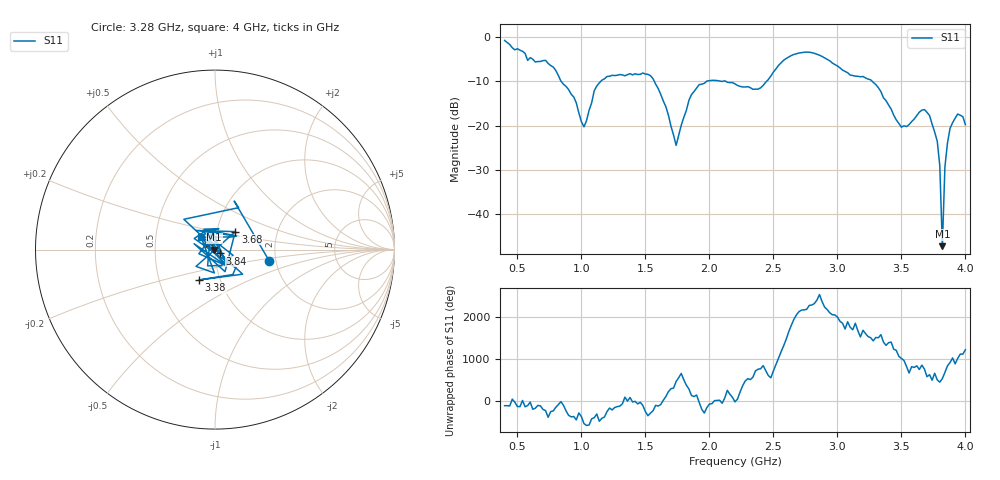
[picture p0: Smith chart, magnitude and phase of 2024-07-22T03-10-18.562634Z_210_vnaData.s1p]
!Created with skrf (http://scikit-rf.org).
# Hz S RI R 50.0
!freq ReS11 ImS11
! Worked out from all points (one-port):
!   181 points, 400 MHz to 4 GHz, reference 50 ohm
!   lowest |S11| = -47.3 dB at 3.82 GHz (marker M1), VSWR 1.01, Z = 49.6 + j0.0117 ohm
!   |S11| at or under -10 dB: 1.57 GHz to 1.978 GHz (408.1 MHz wide, 23 % of centre); 2.127 GHz to 2.447 GHz (319.4 MHz wide, 14 % of centre); 3.272 GHz to end of sweep (the widest 3 of 5)
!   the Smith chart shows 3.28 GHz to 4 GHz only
!   S11 on the Smith chart (normalised r, x): 3.28 GHz: 1.84, -0.25; 3.38 GHz: 0.79, -0.28; 3.68 GHz: 1.23, +0.25; 3.84 GHz: 1.05, -0.05; 4 GHz: 0.85, +0.12
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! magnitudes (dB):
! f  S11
! 400 MHz  -0.8
! 720 MHz  -5.3
! 860 MHz  -10.7
! 1.02 GHz  -20.3
! 1.12 GHz  -11.1
! 1.3 GHz  -8.5
! 1.54 GHz  -8.7
! 1.66 GHz  -15.8
! 1.74 GHz  -24.5
! 1.76 GHz  -22.1
! 1.84 GHz  -14.3
! 1.92 GHz  -10.7
! 2.2 GHz  -10.6
! 2.38 GHz  -11.8
! 2.66 GHz  -3.9
! 3.1 GHz  -8.6
! 3.28 GHz  -10.2
! 3.38 GHz  -14.4
! 3.5 GHz  -20.4
! 3.56 GHz  -19.8
! 3.68 GHz  -16.4
! 3.78 GHz  -23.5
! 3.8 GHz  -29.0
! 3.82 GHz  -47.3
! 3.84 GHz  -29.3
! 3.9 GHz  -19.4
! 3.94 GHz  -17.4
! 4 GHz  -19.8
